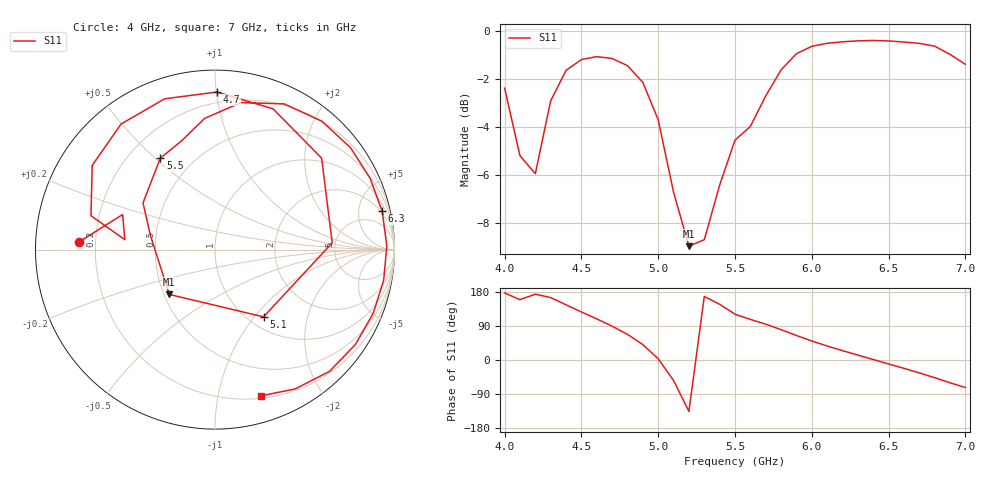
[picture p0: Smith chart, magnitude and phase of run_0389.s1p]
! Touchstone file exported from HFSS 2024.2.0
!  File:  C:/Users/wsak9/Desktop/Sim Fast/Widenad Patch/WP_AI_V1_sweep.aedt
!  Generated:  07:40:44 AM Oct 14, 2026
!  Design:  A1_model
!  Project:  WP_AI_V1_sweep
!  Setup:  Setup1
!  Solution:  Sweep
! Variables:
!  Air_gap = 1.68mm
!  Curve_Amp1 = 3.99
!  Curve_len1 = 1
!  Curve_pos = 12.585mm
!  Extra = 1.16mm
!  H_sub = 0.79mm
!  L_Patch = 21.17mm
!  L_Patch1 = 17.2mm
!  Sx = 0.33mm
!  Sy = 0.8mm
!  WS = 0.85mm
!  W_Patch = 20.74mm
!  W_Patch1 = 16.04mm
!Data is not renormalized
# GHz S MA
! Terminal data exported
! Port[1] = 1
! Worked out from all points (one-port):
!   31 points, 4 GHz to 7 GHz, reference per port
!   lowest |S11| = -9.0 dB at 5.2 GHz (marker M1), VSWR 2.11
!   |S11| at or under -10 dB: nowhere
!   S11 on the Smith chart (normalised r, x): 4 GHz: 0.14, +0.03; 4.7 GHz: 0.13, +1.00; 5.1 GHz: 1.17, -1.11; 5.5 GHz: 0.33, +0.52; 6.3 GHz: 1.72, +8.49; 7 GHz: 0.22, -1.34
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4  0.7614 176.9
4.1  0.5506 159.2
4.2  0.5052 173.7
4.3  0.7166 164.7
4.4  0.8295 145.5
4.5  0.8736 126.8
4.6  0.8859 108.5
4.7  0.8781 89.3
4.8  0.8484 67.6
4.9  0.7828 40.6
5  0.6541 3.3
5.1  0.4621 -54.2
5.2  0.3567 -135.6
5.3  0.3679 167.7
5.4  0.4781 147.0
5.5  0.5935 120.9
5.7  0.7335 94.5
5.8  0.8315 80.0
5.9  0.8986 64.6
6  0.9309 50.2
6.1  0.9445 37.0
6.3  0.9557 12.9
6.4  0.9574 1.3
6.5  0.9552 -10.4
6.7  0.9443 -34.0
6.8  0.9315 -46.7
6.9  0.8956 -60.1
7  0.8539 -72.7
